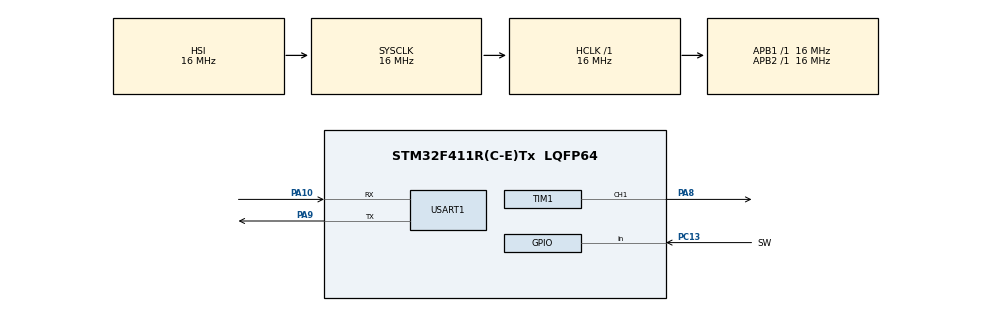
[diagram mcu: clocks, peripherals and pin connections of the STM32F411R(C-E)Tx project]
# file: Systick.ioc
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Mcu.Family=STM32F4
Mcu.Name=STM32F411R(C-E)Tx
Mcu.Package=LQFP64
NVIC.PriorityGroup=NVIC_PRIORITYGROUP_4
PA10.Mode=Asynchronous
PA10.Signal=USART1_RX
PA8.Signal=S_TIM1_CH1
PA9.Mode=Asynchronous
PA9.Signal=USART1_TX
PC13-ANTI_TAMP.GPIO_Label=SW
PC13-ANTI_TAMP.GPIO_PuPd=GPIO_PULLUP
PC13-ANTI_TAMP.Signal=GPIO_Input
ProjectManager.HeapSize=0x200
ProjectManager.StackSize=0x400
ProjectManager.TargetToolchain=STM32CubeIDE
RCC.AHBFreq_Value=16000000
RCC.APB1Freq_Value=16000000
RCC.APB2Freq_Value=16000000
RCC.CortexFreq_Value=16000000
RCC.HSE_VALUE=25000000
RCC.HSI_VALUE=16000000
RCC.LSE_VALUE=32768
RCC.SYSCLKFreq_VALUE=16000000
RCC.VCOOutputFreq_Value=192000000
SH.S_TIM1_CH1.0=TIM1_CH1,PWM Generation1 CH1
TIM1.Channel-PWM\ Generation1\ CH1=TIM_CHANNEL_1
TIM1.Period=1000-1
TIM1.Prescaler=16-1
TIM1.Pulse-PWM\ Generation1\ CH1=499
USART1.VirtualMode=VM_ASYNC
VP_TIM1_VS_ClockSourceINT.Mode=Internal
board=custom

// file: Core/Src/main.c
/* USER CODE BEGIN Header */
/**
 ******************************************************************************
 * @file           : main.c
 * @brief          : Main program body
 ******************************************************************************
 * @attention
 *
 * Copyright (c) 2023 STMicroelectronics.
 * All rights reserved.
 *
 * This software is licensed under terms that can be found in the LICENSE file
 * in the root directory of this software component.
 * If no LICENSE file comes with this software, it is provided AS-IS.
 *
 ******************************************************************************
 */
/* USER CODE END Header */
#include "main.h"

/* USER CODE BEGIN Includes */
#include "uart.h"
#include <stdbool.h>
/* USER CODE END Includes */

TIM_HandleTypeDef htim1;

UART_HandleTypeDef huart1;

void SystemClock_Config(void);
static void MX_GPIO_Init(void);
static void MX_TIM1_Init(void);
static void MX_USART1_UART_Init(void);

/* USER CODE BEGIN 0 */

/*int memory(int addr,int data,int RnW)
 {
 static int buffer[256];
 int result;
 if(RnW)
 {
 result=buffer[addr];
 }
 else
 {
 buffer=result[data];
 }
 return result;
 }*/

//동작주기용 변수
int taskA;
int taskB;
//스위치용 변수
uint32_t bufferSwitch; //스위치의 상태를 1ms마다 저장
uint8_t stateSwitch; //스위치의 상태를 결정
void callbackSystick() //1ms마다 호출
{
	//스위치 레터링 제거
	bufferSwitch = bufferSwitch << 1;
	bufferSwitch += HAL_GPIO_ReadPin(SW_GPIO_Port, SW_Pin);
	if (bufferSwitch == 0)
		stateSwitch = 0;
	if (bufferSwitch == 0xffffffff)
		stateSwitch = 1;
	//동작 주기 카운트
	if (taskA > 0)
		taskA--;
	if (taskB > 0)
		taskB--;
}
void enableBuzzer()
{
	HAL_TIM_PWM_Start(&htim1, TIM_CHANNEL_1);
}
void disableBuzzer()
{
	HAL_TIM_PWM_Stop(&htim1, TIM_CHANNEL_1);
}
/* USER CODE END 0 */

int main(void)
{

	/* MCU Configuration--------------------------------------------------------*/

	/* Reset of all peripherals, Initializes the Flash interface and the Systick. */
	HAL_Init();

	/* Configure the system clock */
	SystemClock_Config();

	/* Initialize all configured peripherals */
	MX_GPIO_Init();
	MX_TIM1_Init();
	MX_USART1_UART_Init();
	/* USER CODE BEGIN 2 */
	int count = 0;
	/* USER CODE END 2 */

	/* Infinite loop */
	while (1)
	{

		/* USER CODE BEGIN 3 */
		static int oldSwitch, curSwitch;
		curSwitch = stateSwitch;

		if (oldSwitch != curSwitch)
		{
			if (curSwitch == 0) //switch ON
			{
				count++;
				printf("count=%d\n", count);
			}
			else //switch OFF
			{

			}
			oldSwitch = curSwitch;
		}
		//task A
		if (taskA == 0)
		{
			taskA = 1300; //taskA의 실행주기를 ms단위로 기록
			if (count > 0)
			{
				count--;
				printf("count=%d\n", count);
			}
		}
		//task B
		if (taskB == 0)
		{
			taskB = 100; //taskB의 실행주기를 ms단위로 기록
			static _Bool flagStateBuzzer;
			flagStateBuzzer ^= 1;
			flagStateBuzzer == 0 ? enableBuzzer() : disableBuzzer();
			//TODO 다음에 수정할 코드입니다.
		}
	}
	/* USER CODE END 3 */
}

void SystemClock_Config(void)
{
	RCC_OscInitTypeDef RCC_OscInitStruct =
	{ 0 };
	RCC_ClkInitTypeDef RCC_ClkInitStruct =
	{ 0 };

	/** Configure the main internal regulator output voltage
	 */
	__HAL_RCC_PWR_CLK_ENABLE();
	__HAL_PWR_VOLTAGESCALING_CONFIG(PWR_REGULATOR_VOLTAGE_SCALE1);

	/** Initializes the RCC Oscillators according to the specified parameters
	 * in the RCC_OscInitTypeDef structure.
	 */
	RCC_OscInitStruct.OscillatorType = RCC_OSCILLATORTYPE_HSI;
	RCC_OscInitStruct.HSIState = RCC_HSI_ON;
	RCC_OscInitStruct.HSICalibrationValue = RCC_HSICALIBRATION_DEFAULT;
	RCC_OscInitStruct.PLL.PLLState = RCC_PLL_NONE;
	if (HAL_RCC_OscConfig(&RCC_OscInitStruct) != HAL_OK)
	{
		Error_Handler();
	}

	/** Initializes the CPU, AHB and APB buses clocks
	 */
	RCC_ClkInitStruct.ClockType = RCC_CLOCKTYPE_HCLK | RCC_CLOCKTYPE_SYSCLK
			| RCC_CLOCKTYPE_PCLK1 | RCC_CLOCKTYPE_PCLK2;
	RCC_ClkInitStruct.SYSCLKSource = RCC_SYSCLKSOURCE_HSI;
	RCC_ClkInitStruct.AHBCLKDivider = RCC_SYSCLK_DIV1;
	RCC_ClkInitStruct.APB1CLKDivider = RCC_HCLK_DIV1;
	RCC_ClkInitStruct.APB2CLKDivider = RCC_HCLK_DIV1;

	if (HAL_RCC_ClockConfig(&RCC_ClkInitStruct, FLASH_LATENCY_0) != HAL_OK)
	{
		Error_Handler();
	}
}

static void MX_TIM1_Init(void)
{

	TIM_ClockConfigTypeDef sClockSourceConfig =
	{ 0 };
	TIM_MasterConfigTypeDef sMasterConfig =
	{ 0 };
	TIM_OC_InitTypeDef sConfigOC =
	{ 0 };
	TIM_BreakDeadTimeConfigTypeDef sBreakDeadTimeConfig =
	{ 0 };

	htim1.Instance = TIM1;
	htim1.Init.Prescaler = 16 - 1;
	htim1.Init.CounterMode = TIM_COUNTERMODE_UP;
	htim1.Init.Period = 1000 - 1;
	htim1.Init.ClockDivision = TIM_CLOCKDIVISION_DIV1;
	htim1.Init.RepetitionCounter = 0;
	htim1.Init.AutoReloadPreload = TIM_AUTORELOAD_PRELOAD_DISABLE;
	if (HAL_TIM_Base_Init(&htim1) != HAL_OK)
	{
		Error_Handler();
	}
	sClockSourceConfig.ClockSource = TIM_CLOCKSOURCE_INTERNAL;
	if (HAL_TIM_ConfigClockSource(&htim1, &sClockSourceConfig) != HAL_OK)
	{
		Error_Handler();
	}
	if (HAL_TIM_PWM_Init(&htim1) != HAL_OK)
	{
		Error_Handler();
	}
	sMasterConfig.MasterOutputTrigger = TIM_TRGO_RESET;
	sMasterConfig.MasterSlaveMode = TIM_MASTERSLAVEMODE_DISABLE;
	if (HAL_TIMEx_MasterConfigSynchronization(&htim1, &sMasterConfig) != HAL_OK)
	{
		Error_Handler();
	}
	sConfigOC.OCMode = TIM_OCMODE_PWM1;
	sConfigOC.Pulse = 499;
	sConfigOC.OCPolarity = TIM_OCPOLARITY_HIGH;
	sConfigOC.OCNPolarity = TIM_OCNPOLARITY_HIGH;
	sConfigOC.OCFastMode = TIM_OCFAST_DISABLE;
	sConfigOC.OCIdleState = TIM_OCIDLESTATE_RESET;
	sConfigOC.OCNIdleState = TIM_OCNIDLESTATE_RESET;
	if (HAL_TIM_PWM_ConfigChannel(&htim1, &sConfigOC, TIM_CHANNEL_1) != HAL_OK)
	{
		Error_Handler();
	}
	sBreakDeadTimeConfig.OffStateRunMode = TIM_OSSR_DISABLE;
	sBreakDeadTimeConfig.OffStateIDLEMode = TIM_OSSI_DISABLE;
	sBreakDeadTimeConfig.LockLevel = TIM_LOCKLEVEL_OFF;
	sBreakDeadTimeConfig.DeadTime = 0;
	sBreakDeadTimeConfig.BreakState = TIM_BREAK_DISABLE;
	sBreakDeadTimeConfig.BreakPolarity = TIM_BREAKPOLARITY_HIGH;
	sBreakDeadTimeConfig.AutomaticOutput = TIM_AUTOMATICOUTPUT_DISABLE;
	if (HAL_TIMEx_ConfigBreakDeadTime(&htim1, &sBreakDeadTimeConfig) != HAL_OK)
	{
		Error_Handler();
	}
	HAL_TIM_MspPostInit(&htim1);

}

static void MX_USART1_UART_Init(void)
{

	huart1.Instance = USART1;
	huart1.Init.BaudRate = 115200;
	huart1.Init.WordLength = UART_WORDLENGTH_8B;
	huart1.Init.StopBits = UART_STOPBITS_1;
	huart1.Init.Parity = UART_PARITY_NONE;
	huart1.Init.Mode = UART_MODE_TX_RX;
	huart1.Init.HwFlowCtl = UART_HWCONTROL_NONE;
	huart1.Init.OverSampling = UART_OVERSAMPLING_16;
	if (HAL_UART_Init(&huart1) != HAL_OK)
	{
		Error_Handler();
	}

}

static void MX_GPIO_Init(void)
{
	GPIO_InitTypeDef GPIO_InitStruct =
	{ 0 };

	/* GPIO Ports Clock Enable */
	__HAL_RCC_GPIOC_CLK_ENABLE();
	__HAL_RCC_GPIOA_CLK_ENABLE();

	/*Configure GPIO pin : SW_Pin */
	GPIO_InitStruct.Pin = SW_Pin;
	GPIO_InitStruct.Mode = GPIO_MODE_INPUT;
	GPIO_InitStruct.Pull = GPIO_PULLUP;
	HAL_GPIO_Init(SW_GPIO_Port, &GPIO_InitStruct);

}

void Error_Handler(void)
{
	__disable_irq();
	while (1)
	{
	}
}
